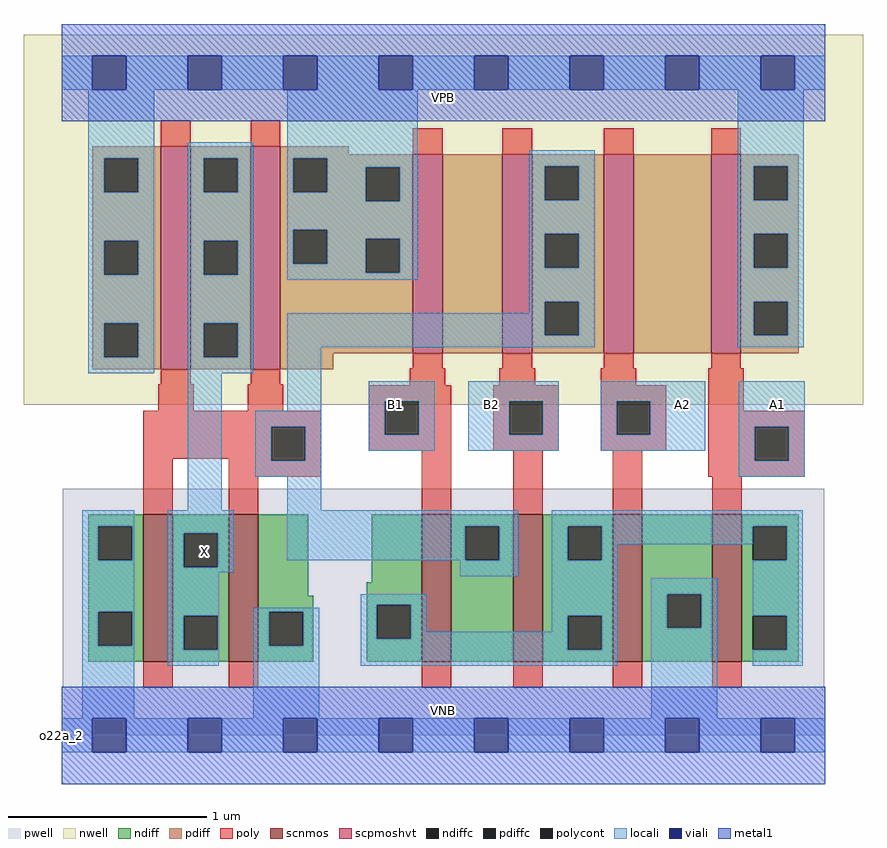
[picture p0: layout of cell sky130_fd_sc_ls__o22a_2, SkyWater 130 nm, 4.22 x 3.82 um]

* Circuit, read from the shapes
.subckt sky130_fd_sc_ls__o22a_2 A1 A2 B1 B2 VGND VNB VPB VPWR X
XM1 X n1 VGND VNB sky130_fd_pr__nfet_01v8 w=0.74 l=0.15 m=2
XM2 n1 B1 n2 VNB sky130_fd_pr__nfet_01v8 w=0.74 l=0.15
XM3 n2 B2 n1 VNB sky130_fd_pr__nfet_01v8 w=0.74 l=0.15
XM4 VGND A2 n2 VNB sky130_fd_pr__nfet_01v8 w=0.74 l=0.15
XM5 n2 A1 VGND VNB sky130_fd_pr__nfet_01v8 w=0.74 l=0.15
XM6 X n1 VPWR VPB sky130_fd_pr__pfet_01v8_hvt w=1.12 l=0.15 m=2
XM7 n3 B1 VPWR VPB sky130_fd_pr__pfet_01v8_hvt w=1 l=0.15
XM8 n1 B2 n3 VPB sky130_fd_pr__pfet_01v8_hvt w=1 l=0.15
XM9 n4 A2 n1 VPB sky130_fd_pr__pfet_01v8_hvt w=1 l=0.15
XM10 VPWR A1 n4 VPB sky130_fd_pr__pfet_01v8_hvt w=1 l=0.15
.ends

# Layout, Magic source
magic
tech sky130A
magscale 1 2
<< nwell >>
rect -38 332 806 704
<< pwell >>
rect 1 49 767 248
rect 0 0 768 49
<< scnmos >>
rect 82 74 112 222
rect 168 74 198 222
rect 362 74 392 222
rect 454 74 484 222
rect 554 74 584 222
rect 654 74 684 222
<< scpmoshvt >>
rect 100 368 130 592
rect 190 368 220 592
rect 353 384 383 584
rect 443 384 473 584
rect 545 384 575 584
rect 653 384 683 584
<< ndiff >>
rect 27 210 82 222
rect 27 176 37 210
rect 71 176 82 210
rect 27 124 82 176
rect 27 90 37 124
rect 71 90 82 124
rect 27 74 82 90
rect 112 203 168 222
rect 112 169 123 203
rect 157 169 168 203
rect 112 120 168 169
rect 112 86 123 120
rect 157 86 168 120
rect 112 74 168 86
rect 198 140 248 222
rect 312 154 362 222
rect 198 124 253 140
rect 198 90 209 124
rect 243 90 253 124
rect 198 74 253 90
rect 307 131 362 154
rect 307 97 317 131
rect 351 97 362 131
rect 307 74 362 97
rect 392 210 454 222
rect 392 176 406 210
rect 440 176 454 210
rect 392 74 454 176
rect 484 210 554 222
rect 484 176 509 210
rect 543 176 554 210
rect 484 120 554 176
rect 484 86 509 120
rect 543 86 554 120
rect 484 74 554 86
rect 584 142 654 222
rect 584 108 609 142
rect 643 108 654 142
rect 584 74 654 108
rect 684 210 741 222
rect 684 176 695 210
rect 729 176 741 210
rect 684 120 741 176
rect 684 86 695 120
rect 729 86 741 120
rect 684 74 741 86
<< pdiff >>
rect 31 580 100 592
rect 31 546 43 580
rect 77 546 100 580
rect 31 497 100 546
rect 31 463 43 497
rect 77 463 100 497
rect 31 414 100 463
rect 31 380 43 414
rect 77 380 100 414
rect 31 368 100 380
rect 130 580 190 592
rect 130 546 143 580
rect 177 546 190 580
rect 130 497 190 546
rect 130 463 143 497
rect 177 463 190 497
rect 130 414 190 463
rect 130 380 143 414
rect 177 380 190 414
rect 130 368 190 380
rect 220 584 289 592
rect 220 580 353 584
rect 220 546 233 580
rect 267 571 353 580
rect 267 546 306 571
rect 220 537 306 546
rect 340 537 353 571
rect 220 508 353 537
rect 220 474 233 508
rect 267 499 353 508
rect 267 474 306 499
rect 220 465 306 474
rect 340 465 353 499
rect 220 384 353 465
rect 383 384 443 584
rect 473 572 545 584
rect 473 538 486 572
rect 520 538 545 572
rect 473 504 545 538
rect 473 470 486 504
rect 520 470 545 504
rect 473 436 545 470
rect 473 402 486 436
rect 520 402 545 436
rect 473 384 545 402
rect 575 384 653 584
rect 683 572 741 584
rect 683 538 696 572
rect 730 538 741 572
rect 683 504 741 538
rect 683 470 696 504
rect 730 470 741 504
rect 683 436 741 470
rect 683 402 696 436
rect 730 402 741 436
rect 683 384 741 402
rect 220 368 273 384
<< ndiffc >>
rect 37 176 71 210
rect 37 90 71 124
rect 123 169 157 203
rect 123 86 157 120
rect 209 90 243 124
rect 317 97 351 131
rect 406 176 440 210
rect 509 176 543 210
rect 509 86 543 120
rect 609 108 643 142
rect 695 176 729 210
rect 695 86 729 120
<< pdiffc >>
rect 43 546 77 580
rect 43 463 77 497
rect 43 380 77 414
rect 143 546 177 580
rect 143 463 177 497
rect 143 380 177 414
rect 233 546 267 580
rect 306 537 340 571
rect 233 474 267 508
rect 306 465 340 499
rect 486 538 520 572
rect 486 470 520 504
rect 486 402 520 436
rect 696 538 730 572
rect 696 470 730 504
rect 696 402 730 436
<< poly >>
rect 100 592 130 618
rect 190 592 220 618
rect 353 584 383 610
rect 443 584 473 610
rect 545 584 575 610
rect 653 584 683 610
rect 353 369 383 384
rect 443 369 473 384
rect 545 369 575 384
rect 653 369 683 384
rect 100 353 130 368
rect 190 353 220 368
rect 97 326 133 353
rect 187 326 223 353
rect 350 352 386 369
rect 440 352 476 369
rect 542 352 578 369
rect 309 336 392 352
rect 82 310 261 326
rect 82 278 211 310
rect 82 222 112 278
rect 168 276 211 278
rect 245 276 261 310
rect 309 302 325 336
rect 359 302 392 336
rect 309 286 392 302
rect 434 336 500 352
rect 434 302 450 336
rect 484 302 500 336
rect 434 286 500 302
rect 542 336 608 352
rect 542 302 558 336
rect 592 302 608 336
rect 542 286 608 302
rect 650 326 686 369
rect 650 310 747 326
rect 168 260 261 276
rect 168 222 198 260
rect 362 222 392 286
rect 454 222 484 286
rect 554 222 584 286
rect 650 276 697 310
rect 731 276 747 310
rect 650 260 747 276
rect 654 222 684 260
rect 82 48 112 74
rect 168 48 198 74
rect 362 48 392 74
rect 454 48 484 74
rect 554 48 584 74
rect 654 48 684 74
<< polycont >>
rect 211 276 245 310
rect 325 302 359 336
rect 450 302 484 336
rect 558 302 592 336
rect 697 276 731 310
<< locali >>
rect 0 649 31 683
rect 65 649 127 683
rect 161 649 223 683
rect 257 649 319 683
rect 353 649 415 683
rect 449 649 511 683
rect 545 649 607 683
rect 641 649 703 683
rect 737 649 768 683
rect 27 580 93 649
rect 27 546 43 580
rect 77 546 93 580
rect 27 497 93 546
rect 27 463 43 497
rect 77 463 93 497
rect 27 414 93 463
rect 27 380 43 414
rect 77 380 93 414
rect 27 364 93 380
rect 127 580 193 596
rect 127 546 143 580
rect 177 546 193 580
rect 127 497 193 546
rect 127 463 143 497
rect 177 463 193 497
rect 127 414 193 463
rect 227 580 358 649
rect 227 546 233 580
rect 267 571 358 580
rect 267 546 306 571
rect 227 537 306 546
rect 340 537 358 571
rect 227 508 358 537
rect 227 474 233 508
rect 267 499 358 508
rect 267 474 306 499
rect 227 465 306 474
rect 340 465 358 499
rect 227 458 358 465
rect 470 572 536 588
rect 470 538 486 572
rect 520 538 536 572
rect 470 504 536 538
rect 470 470 486 504
rect 520 470 536 504
rect 470 436 536 470
rect 470 424 486 436
rect 127 380 143 414
rect 177 380 193 414
rect 127 364 193 380
rect 227 402 486 424
rect 520 402 536 436
rect 227 390 536 402
rect 680 572 746 649
rect 680 538 696 572
rect 730 538 746 572
rect 680 504 746 538
rect 680 470 696 504
rect 730 470 746 504
rect 680 436 746 470
rect 680 402 696 436
rect 730 402 746 436
rect 680 390 746 402
rect 127 226 161 364
rect 227 326 261 390
rect 195 310 261 326
rect 195 276 211 310
rect 245 276 261 310
rect 309 336 375 356
rect 309 302 325 336
rect 359 302 375 336
rect 309 286 375 302
rect 409 336 500 356
rect 409 302 450 336
rect 484 302 500 336
rect 409 286 500 302
rect 542 336 647 356
rect 542 302 558 336
rect 592 302 647 336
rect 542 286 647 302
rect 681 310 747 356
rect 195 260 261 276
rect 681 276 697 310
rect 731 276 747 310
rect 681 260 747 276
rect 227 226 261 260
rect 21 210 73 226
rect 21 176 37 210
rect 71 176 73 210
rect 21 124 73 176
rect 21 90 37 124
rect 71 90 73 124
rect 21 17 73 90
rect 107 203 173 226
rect 107 169 123 203
rect 157 169 173 203
rect 227 210 459 226
rect 227 176 406 210
rect 440 176 459 210
rect 107 164 173 169
rect 107 120 158 164
rect 401 160 459 176
rect 493 210 745 226
rect 493 176 509 210
rect 543 192 695 210
rect 543 176 559 192
rect 301 131 367 142
rect 107 86 123 120
rect 157 86 158 120
rect 107 70 158 86
rect 193 124 259 128
rect 193 90 209 124
rect 243 90 259 124
rect 193 17 259 90
rect 301 97 317 131
rect 351 104 367 131
rect 493 120 559 176
rect 729 176 745 210
rect 493 104 509 120
rect 351 97 509 104
rect 301 86 509 97
rect 543 86 559 120
rect 301 70 559 86
rect 593 142 659 158
rect 593 108 609 142
rect 643 108 659 142
rect 593 17 659 108
rect 695 120 745 176
rect 729 86 745 120
rect 695 70 745 86
rect 0 -17 31 17
rect 65 -17 127 17
rect 161 -17 223 17
rect 257 -17 319 17
rect 353 -17 415 17
rect 449 -17 511 17
rect 545 -17 607 17
rect 641 -17 703 17
rect 737 -17 768 17
<< viali >>
rect 31 649 65 683
rect 127 649 161 683
rect 223 649 257 683
rect 319 649 353 683
rect 415 649 449 683
rect 511 649 545 683
rect 607 649 641 683
rect 703 649 737 683
rect 31 -17 65 17
rect 127 -17 161 17
rect 223 -17 257 17
rect 319 -17 353 17
rect 415 -17 449 17
rect 511 -17 545 17
rect 607 -17 641 17
rect 703 -17 737 17
<< metal1 >>
rect 0 683 768 715
rect 0 649 31 683
rect 65 649 127 683
rect 161 649 223 683
rect 257 649 319 683
rect 353 649 415 683
rect 449 649 511 683
rect 545 649 607 683
rect 641 649 703 683
rect 737 649 768 683
rect 0 617 768 649
rect 0 17 768 49
rect 0 -17 31 17
rect 65 -17 127 17
rect 161 -17 223 17
rect 257 -17 319 17
rect 353 -17 415 17
rect 449 -17 511 17
rect 545 -17 607 17
rect 641 -17 703 17
rect 737 -17 768 17
rect 0 -49 768 -17
<< labels >>
rlabel comment s 0 0 0 0 4 o22a_2
flabel pwell s 0 0 768 49 0 FreeSans 200 0 0 0 VNB
port 6 nsew ground bidirectional
flabel nwell s 0 617 768 666 0 FreeSans 200 0 0 0 VPB
port 7 nsew power bidirectional
flabel metal1 s 0 617 768 666 0 FreeSans 340 0 0 0 VPWR
port 8 nsew power bidirectional abutment
flabel metal1 s 0 0 768 49 0 FreeSans 340 0 0 0 VGND
port 5 nsew ground bidirectional abutment
flabel locali s 127 168 161 202 0 FreeSans 340 0 0 0 X
port 9 nsew signal output
flabel locali s 415 316 449 350 0 FreeSans 340 0 0 0 B2
port 4 nsew signal input
flabel locali s 319 316 353 350 0 FreeSans 340 0 0 0 B1
port 3 nsew signal input
flabel locali s 607 316 641 350 0 FreeSans 340 0 0 0 A2
port 2 nsew signal input
flabel locali s 703 316 737 350 0 FreeSans 340 0 0 0 A1
port 1 nsew signal input
<< properties >>
string LEFsite unit
string LEFclass CORE
string FIXED_BBOX 0 0 768 666
string GDS_FILE $PDKPATH/libs.ref/sky130_fd_sc_ls/gds/sky130_fd_sc_ls.gds
string LEFsymmetry X Y
string GDS_END 76600
string GDS_START 69478
<< end >>
